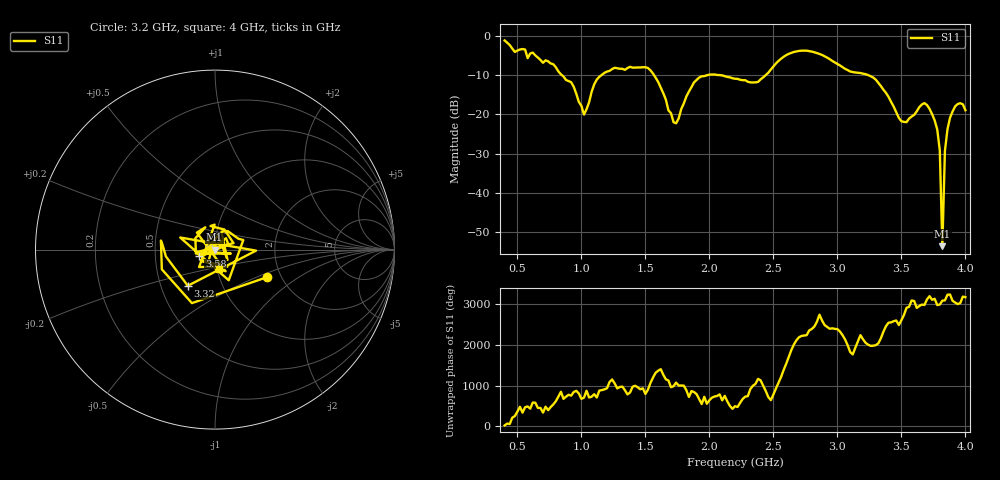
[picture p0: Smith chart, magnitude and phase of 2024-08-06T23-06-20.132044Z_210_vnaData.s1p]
!Created with skrf (http://scikit-rf.org).
# Hz S RI R 50.0
!freq ReS11 ImS11
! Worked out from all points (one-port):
!   181 points, 400 MHz to 4 GHz, reference 50 ohm
!   lowest |S11| = -53.5 dB at 3.82 GHz (marker M1), VSWR 1.00, Z = 49.8 - j0.0596 ohm
!   |S11| at or under -10 dB: 1.567 GHz to 1.987 GHz (419.6 MHz wide, 23.6 % of centre); 2.078 GHz to 2.441 GHz (362.6 MHz wide, 16 % of centre); 3.239 GHz to end of sweep (the widest 3 of 4)
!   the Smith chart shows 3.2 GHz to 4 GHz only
!   S11 on the Smith chart (normalised r, x): 3.2 GHz: 1.70, -0.58; 3.32 GHz: 0.69, -0.29; 3.58 GHz: 0.84, -0.06; 4 GHz: 1.02, -0.23
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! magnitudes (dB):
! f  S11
! 400 MHz  -1.2
! 860 MHz  -10.4
! 940 MHz  -13.0
! 1.02 GHz  -20.1
! 1.12 GHz  -11.2
! 1.3 GHz  -8.4
! 1.52 GHz  -8.2
! 1.6 GHz  -11.8
! 1.72 GHz  -22.0
! 1.76 GHz  -21.0
! 1.92 GHz  -10.6
! 2.2 GHz  -10.9
! 2.38 GHz  -11.8
! 2.66 GHz  -4.1
! 3.1 GHz  -9.1
! 3.2 GHz  -9.6
! 3.32 GHz  -12.0
! 3.5 GHz  -21.8
! 3.56 GHz  -21.1
! 3.58 GHz  -20.6
! 3.68 GHz  -17.1
! 3.78 GHz  -23.8
! 3.8 GHz  -29.2
! 3.82 GHz  -53.5
! 3.84 GHz  -29.3
! 3.86 GHz  -23.8
! 3.92 GHz  -18.0
! 4 GHz  -18.9
